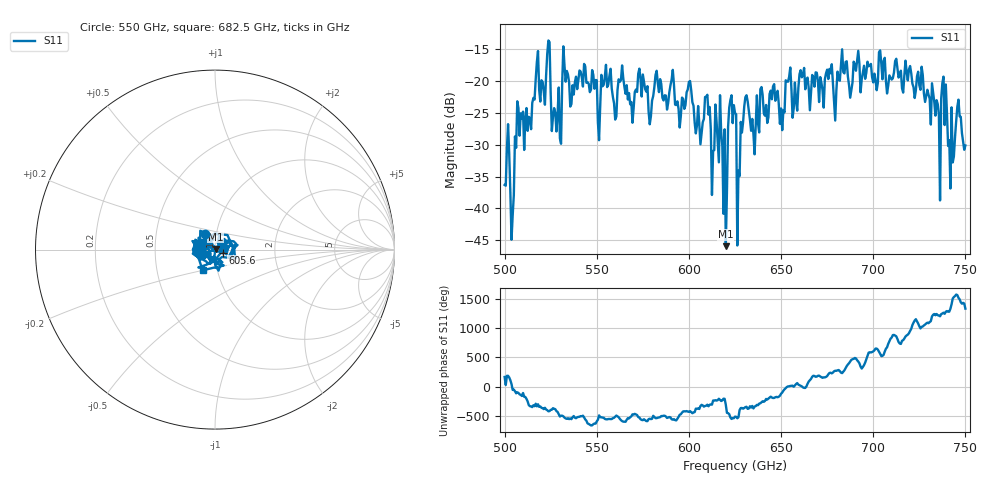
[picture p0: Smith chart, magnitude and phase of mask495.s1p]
!Created with skrf (http://scikit-rf.org).
# GHz S MA R 50.0
!freq magS11 angS11
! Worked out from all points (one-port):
!   401 points, 500 GHz to 750 GHz, reference 50 ohm
!   lowest |S11| = -45.9 dB at 620 GHz (marker M1), VSWR 1.01, Z = 50.3 + j0.392 ohm
!   |S11| at or under -10 dB: start of sweep to end of sweep
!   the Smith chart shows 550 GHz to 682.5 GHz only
!   S11 on the Smith chart (normalised r, x): 550 GHz: 0.88, +0.15; 605.6 GHz: 1.09, -0.04; 682.5 GHz: 0.85, -0.20
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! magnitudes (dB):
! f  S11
! 500 GHz  -36.3
! 501.9 GHz  -26.7
! 504.4 GHz  -41.1
! 506.9 GHz  -23.2
! 513.8 GHz  -25.8
! 516.9 GHz  -19.7
! 523.8 GHz  -13.6
! 526.9 GHz  -24.2
! 531.2 GHz  -20.2
! 533.1 GHz  -20.1
! 550 GHz  -19.8
! 562.5 GHz  -20.1
! 593.8 GHz  -23.2
! 600 GHz  -20.1
! 605.6 GHz  -26.7
! 610 GHz  -22.1
! 612.5 GHz  -37.9
! 620 GHz  -45.9
! 622.5 GHz  -23.0
! 625 GHz  -25.0
! 627.5 GHz  -34.9
! 631.2 GHz  -22.2
! 635 GHz  -28.3
! 656.2 GHz  -25.7
! 682.5 GHz  -17.4
! 687.5 GHz  -22.6
! 718.8 GHz  -19.9
! 750 GHz  -30.1
